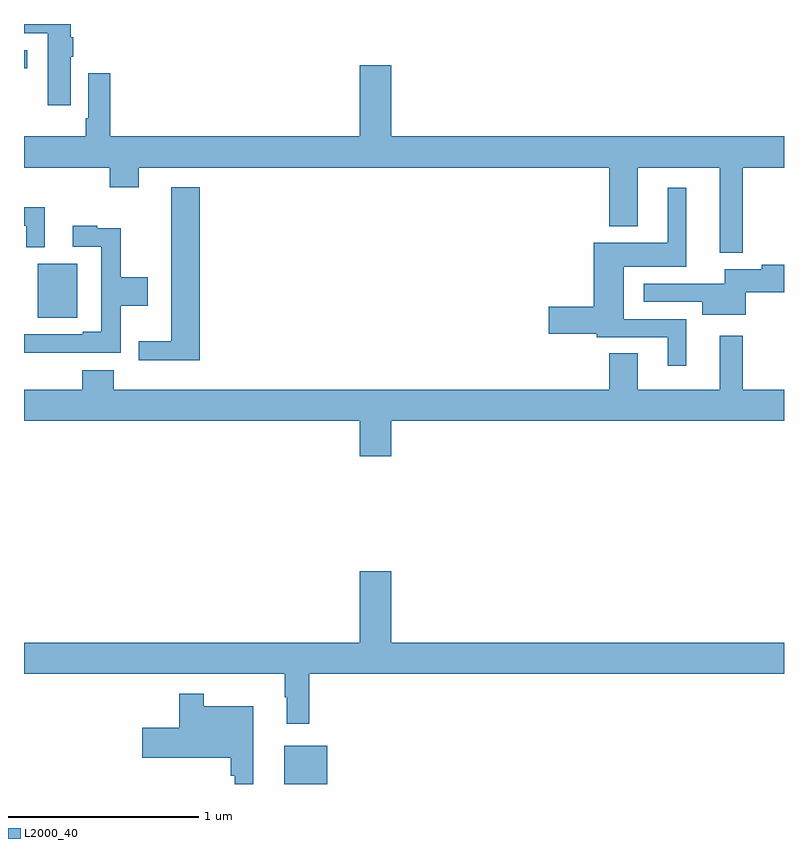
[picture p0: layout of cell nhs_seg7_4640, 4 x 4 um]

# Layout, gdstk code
import gdstk
lib = gdstk.Library(unit=1e-6, precision=1e-09)
def R(c, l, rs):  # rectangles x0, y0, x1, y1
    for r in rs: c.add(gdstk.rectangle(r[:2], r[2:], *l))
def P(c, l, *ps):  # polygons
    for p in ps: c.add(gdstk.Polygon(p, *l))
L2000_40 = (2000, 40)

nhs_seg7_4640 = lib.new_cell('nhs_seg7_4640')
R(nhs_seg7_4640, L2000_40, [(404.369,1036,404.596,1036.201), (403.073,1038.455,403.279,1038.739), (403,1039.767,403.018,1039.863)])
P(nhs_seg7_4640, L2000_40, [(403.246,1039.828),(403.259,1039.828),(403.259,1039.931),(403.246,1039.931),(403.246,1040),(403,1040),(403,1039.952),(403.124,1039.952),(403.124,1039.572),(403.246,1039.572)],
  [(406.783,1039.244),(407,1039.244),(407,1039.408),(404.932,1039.408),(404.932,1039.783),(404.768,1039.783),(404.768,1039.408),(403.454,1039.408),(403.454,1039.741),(403.338,1039.741),(403.338,1039.504),(403.326,1039.504),(403.326,1039.408),(403,1039.408),(403,1039.244),(403.451,1039.244),(403.451,1039.142),(403.603,1039.142),(403.603,1039.244),(406.079,1039.244),(406.079,1038.935),(406.231,1038.935),(406.231,1039.244),(406.661,1039.244),(406.661,1038.795),(406.783,1038.795)],
  [(403.925,1039.141),(403.775,1039.141),(403.775,1038.329),(403.605,1038.329),(403.605,1038.23),(403.925,1038.23)],
  [(406.486,1038.447),(406.156,1038.447),(406.156,1038.722),(406.486,1038.722),(406.486,1039.138),(406.388,1039.138),(406.388,1038.85),(405.998,1038.85),(405.998,1038.512),(405.762,1038.512),(405.762,1038.37),(406.014,1038.37),(406.014,1038.351),(406.388,1038.351),(406.388,1038.201),(406.486,1038.201)],
  [(403.108,1039.035),(403,1039.035),(403,1038.939),(403.011,1038.939),(403.011,1038.824),(403.108,1038.824)],
  [(403.223,1038.27),(403.508,1038.27),(403.508,1038.518),(403.651,1038.518),(403.651,1038.666),(403.508,1038.666),(403.508,1038.926),(403.385,1038.926),(403.385,1038.937),(403.257,1038.937),(403.257,1038.828),(403.407,1038.828),(403.407,1038.379),(403.31,1038.379),(403.31,1038.366),(403,1038.366),(403,1038.269),(403.223,1038.269)],
  [(406.798,1038.587),(407,1038.587),(407,1038.734),(406.884,1038.734),(406.884,1038.709),(406.688,1038.709),(406.688,1038.633),(406.263,1038.633),(406.263,1038.537),(406.571,1038.537),(406.571,1038.47),(406.798,1038.47)],
  [(404.932,1037.912),(407,1037.912),(407,1038.076),(406.783,1038.076),(406.783,1038.358),(406.661,1038.358),(406.661,1038.076),(406.231,1038.076),(406.231,1038.266),(406.079,1038.266),(406.079,1038.076),(403.472,1038.076),(403.472,1038.178),(403.307,1038.178),(403.307,1038.076),(403,1038.076),(403,1037.912),(404.768,1037.912),(404.768,1037.724),(404.932,1037.724)],
  [(404.501,1036.58),(407,1036.58),(407,1036.744),(404.932,1036.744),(404.932,1037.119),(404.768,1037.119),(404.768,1036.744),(403,1036.744),(403,1036.58),(404.373,1036.58),(404.373,1036.457),(404.384,1036.457),(404.384,1036.317),(404.501,1036.317)],
  [(404.206,1036.408),(403.945,1036.408),(403.945,1036.474),(403.816,1036.474),(403.816,1036.297),(403.623,1036.297),(403.623,1036.139),(404.089,1036.139),(404.089,1036.043),(404.109,1036.043),(404.109,1036),(404.206,1036)])

lib.write_gds('nhs_seg7_4640.gds')
